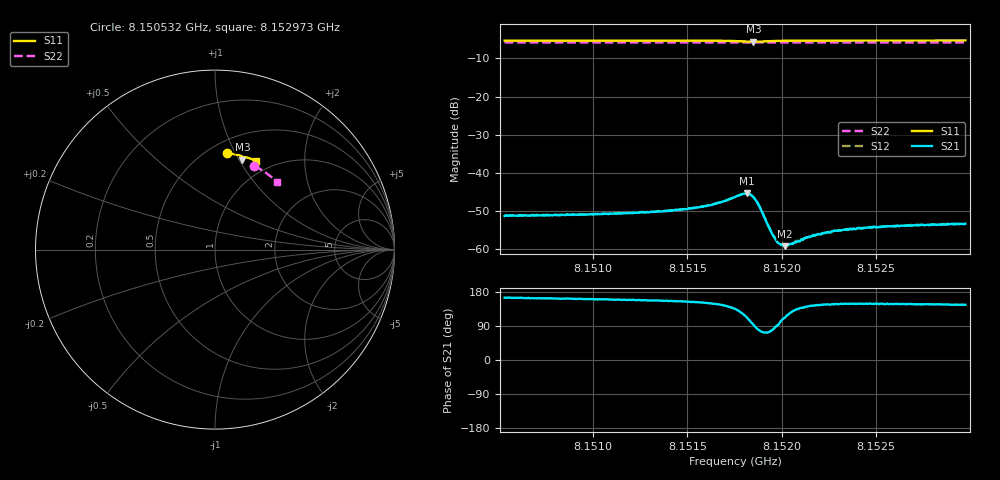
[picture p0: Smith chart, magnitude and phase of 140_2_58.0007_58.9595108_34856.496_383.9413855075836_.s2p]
#  HZ  S  RI  R  50.00
! Rohde & Schwarz Vector Network Analyzer
! Rohde-Schwarz,ZNB20-2Port,1311601062101988,3.16
! Created: UTC 3/21/2024, 12:56:35 AM
! freq[Hz]  re:S11  im:S11  re:S21  im:S21  re:S12  im:S12  re:S22  im:S22
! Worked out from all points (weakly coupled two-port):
!   401 points, 8.150532 GHz to 8.152973 GHz, reference 50 ohm
!   highest |S21| = -45.49 dB at 8.151813 GHz (marker M1); lowest = -59.3 dB at 8.152015 GHz (marker M2)
!   lowest |S11| = -5.6 dB at 8.15185 GHz (marker M3), VSWR 3.19, Z = 37.5 + j51.6 ohm
!   |S11| at or under -10 dB: nowhere
!   |S22| runs from -5.8 to -5.8 dB; largest |S21 - S12| = 0.00012
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8.1505316e9  0.0694 0.5371  -0.00258 0.00072  -0.0026 0.000785  0.2198 0.4658
8.1509405e9  0.0981 0.5333  -0.00264 0.000898  -0.00268 0.000986  0.2432 0.4535
8.1513494e9  0.1271 0.5274  -0.00284 0.00121  -0.00285 0.00129  0.2657 0.4399
8.1514836e9  0.1374 0.5247  -0.00299 0.00145  -0.00295 0.00148  0.2731 0.4352
8.1515935e9  0.1461 0.5218  -0.00317 0.00178  -0.00317 0.00182  0.279 0.4313
8.1516911e9  0.1545 0.5172  -0.00341 0.00244  -0.00337 0.00251  0.2842 0.4275
8.1517521e9  0.1594 0.5118  -0.00338 0.00336  -0.00335 0.00345  0.2871 0.4251
8.1518132e9  0.1587 0.5023  -0.00209 0.00489  -0.00202 0.00495  0.2901 0.4227
8.1518315e9  0.1558 0.5004  -0.00115 0.00503  -0.00111 0.00507  0.2909 0.422
8.1518498e9  0.1523 0.5005  -0.000242 0.00472  -0.000171 0.00476  0.2917 0.4215
8.1518803e9  0.1485 0.5047  0.000719 0.00356  0.000796 0.00355  0.293 0.4204
8.1519352e9  0.1517 0.5125  0.000497 0.00177  0.000517 0.0018  0.2962 0.4188
8.1519657e9  0.1551 0.5145  7.75e-05 0.00134  8.79e-05 0.00134  0.2978 0.4177
8.151984e9  0.1572 0.5151  -8.31e-05 0.00117  -0.000111 0.00118  0.2987 0.4169
8.1520146e9  0.1605 0.5156  -0.000386 0.00101  -0.000384 0.00101  0.3004 0.4158
8.1520451e9  0.1636 0.5156  -0.000657 0.000948  -0.000603 0.00098  0.302 0.4145
8.1520878e9  0.1675 0.5152  -0.000894 0.000908  -0.00089 0.000921  0.3043 0.4129
8.152161e9  0.1739 0.5142  -0.00117 0.000874  -0.00117 0.000893  0.3081 0.4101
8.152277e9  0.1826 0.5118  -0.00143 0.000945  -0.00145 0.000945  0.314 0.4054
8.1524112e9  0.1922 0.5089  -0.0016 0.000988  -0.00159 0.000965  0.3205 0.3999
8.1525699e9  0.2031 0.5051  -0.00165 0.00106  -0.00166 0.00109  0.3283 0.3934
8.1529727e9  0.2297 0.4944  -0.00176 0.0012  -0.00176 0.00121  0.3472 0.376
